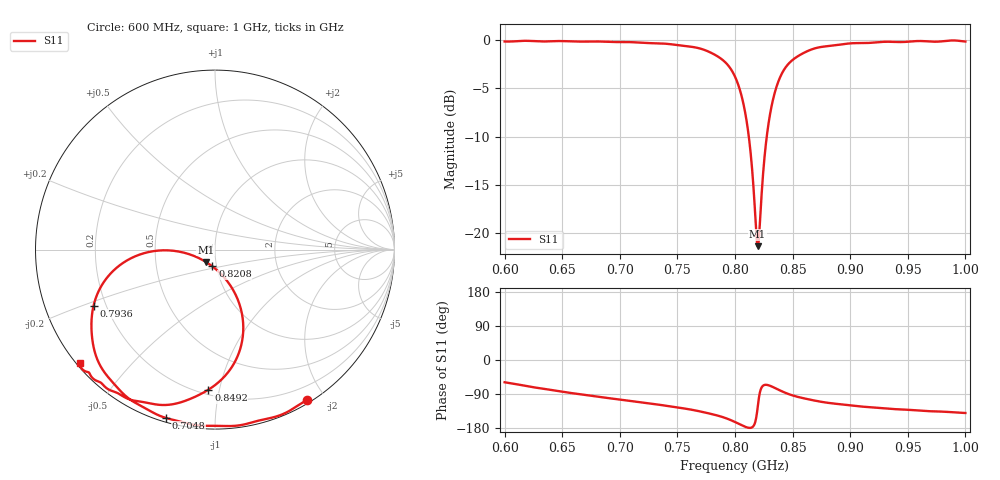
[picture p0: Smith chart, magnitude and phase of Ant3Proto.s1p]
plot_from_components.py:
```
import pandas as pd
import plotly.graph_objects as go
import numpy as np
import skrf as rf
import matplotlib.pyplot as plt
import sys


Z0 = 50

class Capacitor:
    def __init__(self, capacitance):
        self.capacitance = capacitance

    def impedance(self, freq):
        imp = 1/(1j*2*np.pi*freq*self.capacitance)
        return imp

class Inductor:
    def __init__(self, inductance):
        self.inductance = inductance

    def impedance(self, freq):
        imp = 1j*2*np.pi*freq*self.inductance
        return imp

# Read smith chart data and rename unnamed column
# smith_df = pd.read_csv("Test_of_pi_match_calc\Ant3Proto.s1p")
# smith_df = smith_df.rename(columns={"Unnamed: 0": "freq"})

# # Convert indices to frequency, 600-1000 MHz
# smith_df["freq"] = smith_df["freq"].apply(lambda f: 600 + 2 * f)




# Convert from UV coords to normalized impedance
def uv_to_impn(u, v):
    refl = complex(u, v)

    z = -(refl + 1)/(refl - 1)

    return z


# Convert from normalized impedance to UV coords
def impn_to_uv(r, x):
    impn = complex(r, x)
    
    refl = (impn-1)/(impn+1)

    return refl


def eseries_to_norm(impedance, norm = Z0):
    return impedance / norm

def transform_uv(u, v, imps):
    normalized_impedance = uv_to_impn(u, v)

    for i, z in enumerate(imps):
        #print(i, z)
        if i % 2 == 0:
            normalized_impedance = 1/(1/z+1/normalized_impedance)
        else:
            normalized_impedance = normalized_impedance + z
        
    uv_coords = impn_to_uv(normalized_impedance.real, normalized_impedance.imag)

    return uv_coords

def apply_transform_df(df, components, norm = Z0):
    result = []
    for row in df.itertuples():
        # if row.freq > 866 or row.freq < 790:
        #     #print(f"Skipping {row.freq}")
        #     continue
        imps = list(map(lambda x: x.impedance(row.freq*1E6)/norm, components))

        transformed_uv = transform_uv(row.real, row.imag, imps)

        result.append(transformed_uv)
        
    return result

# Load the touchstone file
ntwrk = rf.Network("Test_of_pi_match_calc\Ant3Proto.s1p")

s_params = ntwrk.s[:, 0, 0]

real_s = [x.real for x in s_params]
imag_s = [x.imag for x in s_params]

touch_df = pd.DataFrame({
    "freq": np.linspace(600, 1000, 1001),
    "real": real_s,
    "imag": imag_s
})

# Load in CSV file for comparison
comparision_df = pd.read_csv("Test_of_pi_match_calc/test_of_export_of_smith.csv", sep=";", header=0, names=("freq", "real", "imag"))
z_compare =[]
for row in comparision_df.itertuples():
    z_compare.append(uv_to_impn(row.real,row.imag))

# Define the PI-match that is usued
Components_of_pi = [Capacitor(5E-12), Inductor(3.3E-9), Capacitor((20E-12))]
df_to_use = touch_df

# Apply the transformation to the touchstone
optimal_uv = apply_transform_df(df_to_use, Components_of_pi, Z0)
z2 = list(map(lambda x: uv_to_impn(x.real, x.imag), optimal_uv))



# optimal_uv_2 = apply_transform_df(df_to_use, [Capacitor(2.05E-12), Inductor(8.66E-9), Capacitor(1.05E-12)], Z0)

# z2 = list(map(lambda x: uv_to_impn(x.real, x.imag), optimal_uv_2))
# real3 = list(map(lambda x: x.real, z2))
# imag3 = list(map(lambda x: x.imag, z2))


# Split the data into two lists, for the plot
real2 = list(map(lambda x: x.real, z2))
imag2 = list(map(lambda x: x.imag, z2))

real3 = list(map(lambda x: x.real, z_compare))
imag3 = list(map(lambda x: x.imag, z_compare))


# Transform into numpy arrays for ease of error calculation
Transformed_by_python_real = np.asarray(real2)
Transformed_by_python_imag = np.asarray(imag2)

qucs_real = np.asarray(real3)
qucs_imag = np.asarray(imag3)

# Calculate the error
error = [Transformed_by_python_real-qucs_real,Transformed_by_python_imag-qucs_imag]

# Print the error
np.set_printoptions(threshold=sys.maxsize)
print("Error Average")
print(error[0].mean())
print(error[1].mean())

# Relative error
realtive_error= [(Transformed_by_python_real-qucs_real)/qucs_real,(Transformed_by_python_imag-qucs_imag)/qucs_imag]

print("Relative error")
print(realtive_error[0].mean())
print(realtive_error[1].mean())

fig = go.Figure([go.Scattersmith(imag=imag2, real=real2,name="Software under test"),go.Scattersmith(imag=imag3, real=real3,name="Comparison Dataset")])
fig.show()
```
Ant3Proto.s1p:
! TOUCHSTONE file generated by CST MICROWAVE STUDIO
! Date and time: Wed Nov 23 10:12:08 2022
! Project name: Ant3Proto.cst
! Parameters = {AntCapLenAddition=9; CapShortLen=1; ShortToGND=0.3; waterdim=0.1}
! Header version: 2018
! Port assignment regex: !\s*Touchstone port\s*([0-9]+)\s*=\s*(CST MWS port|CST DS port)\s*([0-9]+|Zmin|Zmax)\s*\(\"(.*)\"\)(\s*mode\s*([0-9]+))?.*
! Touchstone port assignment:
! Touchstone port 1 = CST MWS port 1 ("")
# MHz S RI R 50
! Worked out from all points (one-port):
!   1001 points, 600 MHz to 1 GHz, reference 50 ohm
!   lowest |S11| = -21.4 dB at 819.6 MHz (marker M1), VSWR 1.19, Z = 44.7 - j6.16 ohm
!   |S11| at or under -10 dB: 812 MHz to 827.6 MHz (15.59 MHz wide, 1.9 % of centre)
!   S11 on the Smith chart (normalised r, x): 600 MHz: 0.04, -1.78; 704.8 MHz: 0.02, -0.75; 793.6 MHz: 0.15, -0.21; 820.8 MHz: 0.95, -0.18; 849.2 MHz: 0.23, -0.93; 1 GHz: 0.01, -0.37
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600  0.5106 -0.8402
648.4  0.1231 -0.9807
704.8  -0.2739 -0.9379
733.6  -0.4491 -0.8508
767.2  -0.6347 -0.6547
793.6  -0.6764 -0.3118
809.2  -0.4084 -0.0239
819.6  -0.0513 -0.0683
820.8  -0.0146 -0.0935
831.2  0.1567 -0.4084
849.2  -0.0371 -0.7808
866.8  -0.2419 -0.8626
908.8  -0.5199 -0.8126
1000  -0.7507 -0.6341
